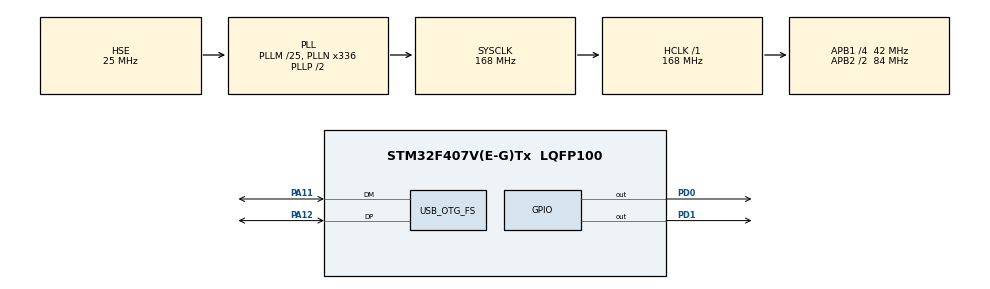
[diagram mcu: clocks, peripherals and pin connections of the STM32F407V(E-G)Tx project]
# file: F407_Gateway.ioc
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FREERTOS.Tasks01=TaskLed1,-1,128,StartLED1Task,Default,NULL,Dynamic,NULL,NULL;TaskLed2,0,128,StartLed2,Default,NULL,Dynamic,NULL,NULL
Mcu.Family=STM32F4
Mcu.Name=STM32F407V(E-G)Tx
Mcu.Package=LQFP100
NVIC.OTG_FS_IRQn=true\:5\:0\:false\:false\:true\:true\:false\:true
NVIC.PriorityGroup=NVIC_PRIORITYGROUP_4
NVIC.TIM1_UP_TIM10_IRQn=true\:0\:0\:false\:false\:true\:false\:false\:true
NVIC.TimeBase=TIM1_UP_TIM10_IRQn
NVIC.TimeBaseIP=TIM1
PA11.Mode=Device_Only
PA11.Signal=USB_OTG_FS_DM
PA12.Mode=Device_Only
PA12.Signal=USB_OTG_FS_DP
PD0.Signal=GPIO_Output
PD1.Signal=GPIO_Output
PH0-OSC_IN.Mode=HSE-External-Oscillator
PH0-OSC_IN.Signal=RCC_OSC_IN
PH1-OSC_OUT.Mode=HSE-External-Oscillator
PH1-OSC_OUT.Signal=RCC_OSC_OUT
ProjectManager.HeapSize=0x1000
ProjectManager.StackSize=0x800
ProjectManager.TargetToolchain=MDK-ARM V5
RCC.48MHZClocksFreq_Value=48000000
RCC.AHBFreq_Value=168000000
RCC.APB1CLKDivider=RCC_HCLK_DIV4
RCC.APB1Freq_Value=42000000
RCC.APB1TimFreq_Value=84000000
RCC.APB2CLKDivider=RCC_HCLK_DIV2
RCC.APB2Freq_Value=84000000
RCC.APB2TimFreq_Value=168000000
RCC.CortexFreq_Value=168000000
RCC.EnbaleCSS=true
RCC.HCLKFreq_Value=168000000
RCC.HSE_VALUE=25000000
RCC.HSI_VALUE=16000000
RCC.LSE_VALUE=32768
RCC.PLLM=25
RCC.PLLN=336
RCC.PLLQ=7
RCC.SYSCLKFreq_VALUE=168000000
RCC.SYSCLKSource=RCC_SYSCLKSOURCE_PLLCLK
RCC.VCOOutputFreq_Value=336000000
USB_DEVICE.CLASS_NAME_FS=CUSTOM_HID
USB_DEVICE.PID_CUSTOMHID_FS=0x5750
USB_DEVICE.USBD_CUSTOMHID_OUTREPORT_BUF_SIZE-CUSTOM_HID_FS=64
USB_DEVICE.USBD_CUSTOM_HID_REPORT_DESC_SIZE-CUSTOM_HID_FS=34
USB_DEVICE.VID-CUSTOM_HID_FS=0x483
USB_DEVICE.VirtualMode-CUSTOM_HID_FS=CustomHid
USB_DEVICE.VirtualModeFS=Custom_Hid_FS
USB_OTG_FS.VirtualMode=Device_Only
VP_FREERTOS_VS_CMSIS_V1.Mode=CMSIS_V1
VP_SYS_VS_tim1.Mode=TIM1
VP_USB_DEVICE_VS_USB_DEVICE_CUSTOM_HID_FS.Mode=CUSTOM_HID_FS
board=custom

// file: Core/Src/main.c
/* USER CODE BEGIN Header */
/**
  ******************************************************************************
  * @file           : main.c
  * @brief          : Main program body
  ******************************************************************************
  * @attention
  *
  * <h2><center>&copy; Copyright (c) 2021 STMicroelectronics.
  * All rights reserved.</center></h2>
  *
  * This software component is licensed by ST under Ultimate Liberty license
  * SLA0044, the "License"; You may not use this file except in compliance with
  * the License. You may obtain a copy of the License at:
  *                             www.st.com/SLA0044
  *
  ******************************************************************************
  */
/* USER CODE END Header */
#include "main.h"
#include "cmsis_os.h"

/* USER CODE BEGIN Includes */
#include "usbd_customhid.h"
#include "usb_device.h"
/* USER CODE END Includes */

osThreadId TaskLed1Handle;
osThreadId TaskLed2Handle;
/* USER CODE BEGIN PV */
uint8_t send_buf[64] = {//定义一个USB的发送BUFF
    1,2,3,4,5,6,7,8,9,10,11,12,13,14,15,16,
    17,18,19,20,21,22,23,24,25,26,27,28,29,30,31,32,33,34,35,36,37,38,39,
    40,41,42,43,44,45,46,47,48,49,50,51,52,53,54,55,56,57,58,59,60,61,62,63,64
};
extern USBD_HandleTypeDef hUsbDeviceFS;
/* USER CODE END PV */

void SystemClock_Config(void);
static void MX_GPIO_Init(void);
void StartLED1Task(void const * argument);
void StartLed2(void const * argument);

int main(void)
{

    /* MCU Configuration--------------------------------------------------------*/

    /* Reset of all peripherals, Initializes the Flash interface and the Systick. */
    HAL_Init();

    /* Configure the system clock */
    SystemClock_Config();

    /* Initialize all configured peripherals */
    MX_GPIO_Init();
    /* USER CODE BEGIN 2 */
	MX_USB_DEVICE_Init();
    /* USER CODE END 2 */

    /* Create the thread(s) */
    /* definition and creation of TaskLed1 */
    osThreadDef(TaskLed1, StartLED1Task, osPriorityBelowNormal, 0, 128);
    TaskLed1Handle = osThreadCreate(osThread(TaskLed1), NULL);

    /* definition and creation of TaskLed2 */
    osThreadDef(TaskLed2, StartLed2, osPriorityNormal, 0, 128);
    TaskLed2Handle = osThreadCreate(osThread(TaskLed2), NULL);

    /* Start scheduler */
    osKernelStart();

    /* We should never get here as control is now taken by the scheduler */
    /* Infinite loop */
    while (1)
    {

    }
}

void SystemClock_Config(void)
{
    RCC_OscInitTypeDef RCC_OscInitStruct = {0};
    RCC_ClkInitTypeDef RCC_ClkInitStruct = {0};

    /** Configure the main internal regulator output voltage
    */
    __HAL_RCC_PWR_CLK_ENABLE();
    __HAL_PWR_VOLTAGESCALING_CONFIG(PWR_REGULATOR_VOLTAGE_SCALE1);
    /** Initializes the RCC Oscillators according to the specified parameters
    * in the RCC_OscInitTypeDef structure.
    */
    RCC_OscInitStruct.OscillatorType = RCC_OSCILLATORTYPE_HSE;
    RCC_OscInitStruct.HSEState = RCC_HSE_ON;
    RCC_OscInitStruct.PLL.PLLState = RCC_PLL_ON;
    RCC_OscInitStruct.PLL.PLLSource = RCC_PLLSOURCE_HSE;
    RCC_OscInitStruct.PLL.PLLM = 25;
    RCC_OscInitStruct.PLL.PLLN = 336;
    RCC_OscInitStruct.PLL.PLLP = RCC_PLLP_DIV2;
    RCC_OscInitStruct.PLL.PLLQ = 7;
    if (HAL_RCC_OscConfig(&RCC_OscInitStruct) != HAL_OK)
    {
        Error_Handler();
    }
    /** Initializes the CPU, AHB and APB buses clocks
    */
    RCC_ClkInitStruct.ClockType = RCC_CLOCKTYPE_HCLK|RCC_CLOCKTYPE_SYSCLK
                                  |RCC_CLOCKTYPE_PCLK1|RCC_CLOCKTYPE_PCLK2;
    RCC_ClkInitStruct.SYSCLKSource = RCC_SYSCLKSOURCE_PLLCLK;
    RCC_ClkInitStruct.AHBCLKDivider = RCC_SYSCLK_DIV1;
    RCC_ClkInitStruct.APB1CLKDivider = RCC_HCLK_DIV4;
    RCC_ClkInitStruct.APB2CLKDivider = RCC_HCLK_DIV2;

    if (HAL_RCC_ClockConfig(&RCC_ClkInitStruct, FLASH_LATENCY_5) != HAL_OK)
    {
        Error_Handler();
    }
    /** Enables the Clock Security System
    */
    HAL_RCC_EnableCSS();
}

static void MX_GPIO_Init(void)
{
    GPIO_InitTypeDef GPIO_InitStruct = {0};

    /* GPIO Ports Clock Enable */
    __HAL_RCC_GPIOH_CLK_ENABLE();
    __HAL_RCC_GPIOA_CLK_ENABLE();
    __HAL_RCC_GPIOD_CLK_ENABLE();

    /*Configure GPIO pin Output Level */
    HAL_GPIO_WritePin(GPIOD, GPIO_PIN_0|GPIO_PIN_1, GPIO_PIN_RESET);

    /*Configure GPIO pins : PD0 PD1 */
    GPIO_InitStruct.Pin = GPIO_PIN_0|GPIO_PIN_1;
    GPIO_InitStruct.Mode = GPIO_MODE_OUTPUT_PP;
    GPIO_InitStruct.Pull = GPIO_NOPULL;
    GPIO_InitStruct.Speed = GPIO_SPEED_FREQ_LOW;
    HAL_GPIO_Init(GPIOD, &GPIO_InitStruct);

}

void StartLED1Task(void const * argument)
{
    /* init code for USB_DEVICE */
//    MX_USB_DEVICE_Init();
    /* USER CODE BEGIN 5 */
    /* Infinite loop */
    for(;;)
    {
        HAL_GPIO_WritePin(GPIOD,GPIO_PIN_0,GPIO_PIN_SET);
        osDelay(100);
        HAL_GPIO_WritePin(GPIOD,GPIO_PIN_0,GPIO_PIN_RESET);
        osDelay(100);
    }
    /* USER CODE END 5 */
}

void StartLed2(void const * argument)
{
    /* USER CODE BEGIN StartLed2 */
    /* Infinite loop */
    for(;;)
    {
        HAL_GPIO_WritePin(GPIOD,GPIO_PIN_1,GPIO_PIN_SET);
		memcpy(send_buf,"LED1 ON ",8);
		USBD_CUSTOM_HID_SendReport(&hUsbDeviceFS, send_buf, sizeof(send_buf));
        osDelay(1000);
		memcpy(send_buf,"LED1 OFF",8);
        HAL_GPIO_WritePin(GPIOD,GPIO_PIN_1,GPIO_PIN_RESET);
		USBD_CUSTOM_HID_SendReport(&hUsbDeviceFS, send_buf, sizeof(send_buf));
        osDelay(1000);
    }
    /* USER CODE END StartLed2 */
}

void HAL_TIM_PeriodElapsedCallback(TIM_HandleTypeDef *htim)
{
    if (htim->Instance == TIM1) {
        HAL_IncTick();
    }
}

void Error_Handler(void)
{
    __disable_irq();
    while (1)
    {
    }
}

/************************ (C) COPYRIGHT STMicroelectronics *****END OF FILE****/

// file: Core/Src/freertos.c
/* USER CODE BEGIN Header */
/**
  ******************************************************************************
  * File Name          : freertos.c
  * Description        : Code for freertos applications
  ******************************************************************************
  * @attention
  *
  * <h2><center>&copy; Copyright (c) 2021 STMicroelectronics.
  * All rights reserved.</center></h2>
  *
  * This software component is licensed by ST under Ultimate Liberty license
  * SLA0044, the "License"; You may not use this file except in compliance with
  * the License. You may obtain a copy of the License at:
  *                             www.st.com/SLA0044
  *
  ******************************************************************************
  */
/* USER CODE END Header */

#include "FreeRTOS.h"
#include "task.h"
#include "main.h"

/* GetIdleTaskMemory prototype (linked to static allocation support) */
void vApplicationGetIdleTaskMemory( StaticTask_t **ppxIdleTaskTCBBuffer, StackType_t **ppxIdleTaskStackBuffer, uint32_t *pulIdleTaskStackSize );

/* USER CODE BEGIN GET_IDLE_TASK_MEMORY */
static StaticTask_t xIdleTaskTCBBuffer;
static StackType_t xIdleStack[configMINIMAL_STACK_SIZE];

void vApplicationGetIdleTaskMemory( StaticTask_t **ppxIdleTaskTCBBuffer, StackType_t **ppxIdleTaskStackBuffer, uint32_t *pulIdleTaskStackSize )
{
    *ppxIdleTaskTCBBuffer = &xIdleTaskTCBBuffer;
    *ppxIdleTaskStackBuffer = &xIdleStack[0];
    *pulIdleTaskStackSize = configMINIMAL_STACK_SIZE;
    /* place for user code */
}
/* USER CODE END GET_IDLE_TASK_MEMORY */

/************************ (C) COPYRIGHT STMicroelectronics *****END OF FILE****/
